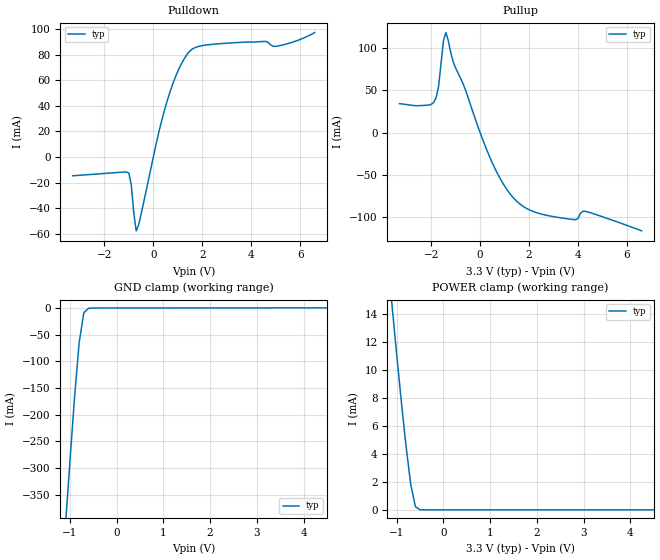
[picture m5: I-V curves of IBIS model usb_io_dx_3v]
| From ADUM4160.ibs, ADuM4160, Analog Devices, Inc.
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|   Model usb_io_dx_3v
| Models USB I/O pin with PWR clamp connected to VBUS = VDD = 3.3 V.
| (On-chip VDD voltage regulator is disabled).
| This model includes 18k ohm pulldown resistance in its GND_clamp,
| ...and thus is used for the DD+ and DD- pins (but not UD+ or UD-).
[Model]   usb_io_dx_3v
Model_type   I/O
Polarity   Non-Inverting
Vinl = 0.8V
Vinh = 2.0V
Vmeas = 1.5V
Cref = 50pF
Rref = 1e6
Vref = 0
C_comp   1.00pF   1.00pF   1.00pF
[Temperature Range]   27.00   125.00   -40.00
[Voltage Range]   3.30V   3.00V   3.60V
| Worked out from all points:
|   slope of the pulldown table from 0 to 0.495 V, typ, clamps not added: 12.6 ohm
|   slope of the pullup table from 0 to 0.495 V, typ, clamps not added: 14 ohm
|   GND clamp passes 1 mA (typ) near -0.60 V on its own axis
|   POWER clamp passes 1 mA (typ) near -0.65 V on its own axis
[GND_clamp]
| voltage(V) I(typ)(A)   I(min)(A)   I(max)(A)
-3.3V     -3.275A    NA         NA
-1.1V     -416.6mA   NA         NA
-1V       -291.1mA   NA         NA
-900mV    -169.7mA   NA         NA
-800mV    -65.1mA    NA         NA
-700mV    -8.837mA   NA         NA
-600mV    -635.2uA   NA         NA
6.6V      352.8uA    NA         NA
[POWER_clamp]
| Note that the[POWER_clamp]voltage table is referenced to Vcc
| and is calculated using Vtable = Vcc - Vmeasured.
| voltage(V) I(typ)(A)   I(min)(A)   I(max)(A)
-3.3V     1.202A     NA         NA
-1.1V     14.64mA    NA         NA
-900mV    7.713mA    NA         NA
-800mV    4.566mA    NA         NA
-700mV    1.844mA    NA         NA
-600mV    230.1uA    NA         NA
-500mV    6.173uA    NA         NA
6.6V      0A         NA         NA
[Pulldown]
| voltage(V) I(typ)(A)   I(min)(A)   I(max)(A)
-3.3V     -14.63mA   NA         NA
-1V       -12.51mA   NA         NA
-900mV    -21.71mA   NA         NA
-800mV    -43.33mA   NA         NA
-700mV    -57.72mA   NA         NA
-600mV    -53.06mA   NA         NA
600mV     45.97mA    NA         NA
1V        66.99mA    NA         NA
1.5V      83.04mA    NA         NA
3.7V      89.85mA    NA         NA
5V        86.58mA    NA         NA
6.6V      97.43mA    NA         NA
[Pullup]
| Note that the[Pullup]voltage table is referenced to Vcc
| and is calculated using Vtable = Vcc - Vmeasured.
| voltage(V) I(typ)(A)   I(min)(A)   I(max)(A)
-3.3V     34.38mA    NA         NA
-1.9V     35.77mA    NA         NA
-1.7V     54.78mA    NA         NA
-1.5V     108.8mA    NA         NA
-1.4V     118.3mA    NA         NA
-1.1V     83.4mA     NA         NA
300mV     -22.45mA   NA         NA
1.4V      -78.13mA   NA         NA
2.5V      -95.97mA   NA         NA
3.9V      -102.7mA   NA         NA
4.3V      -92.8mA    NA         NA
6.6V      -115.8mA   NA         NA
[Ramp]
|variable   typ   min   max
dV/dt_r   1.980/5.0n   NA   NA
dV/dt_f   1.980/5.0n   NA   NA
R_load = 1MEG
| End [Model] usb_io_dx_3v
